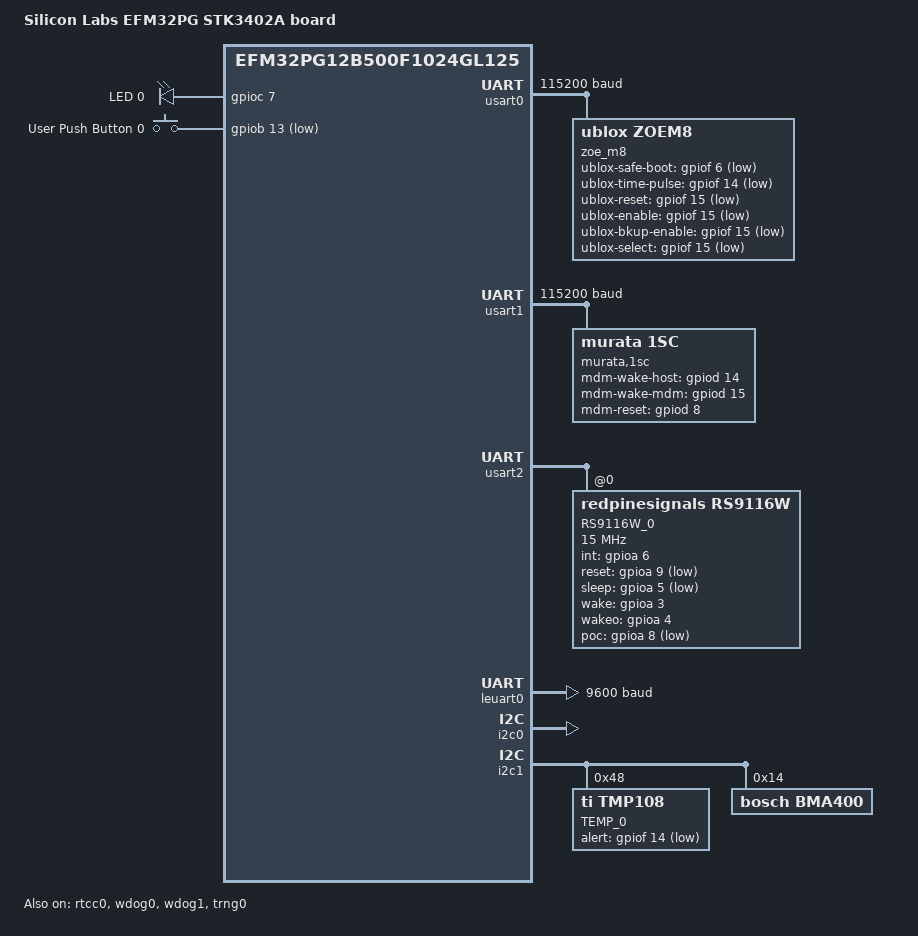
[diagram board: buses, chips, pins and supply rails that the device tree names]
/*
 * Copyright (c) 2017 Christian Taedcke
 * Copyright (c) 2019 Lemonbeat GmbH
 *
 * SPDX-License-Identifier: Apache-2.0
 */

/dts-v1/;
#include <silabs/efm32pg12b500f1024gl125.dtsi>

/ {
    model = "Silicon Labs EFM32PG STK3402A board";
    compatible = "tmo,pets_v2";
    
    chosen {
        zephyr,console = &leuart0;
        zephyr,shell-uart = &leuart0;
        zephyr,sram = &sram0;
        zephyr,flash = &flash0;
        watchdog0 = &wdog0;
        watchdog1 = &wdog1;
    };

    /* These aliases are provided for compatibility with samples */
    aliases {
        led0 = &led0;
        sw0 = &button0;
        modem = &usart1;
    };

    leds {
        compatible = "gpio-leds";

        led0: led_0 {
            gpios = <&gpioc 7 0>;
            label = "LED 0";
        };
    };

    buttons {
        compatible = "gpio-keys";
        button0: button_0 {
            gpios = <&gpiob 13 GPIO_ACTIVE_LOW>;
            label = "User Push Button 0";
        };
    };
};

&cpu0 {
    clock-frequency = <40000000>;
};

&usart0 {
    current-speed = <115200>;
    location-rx = <GECKO_LOCATION(0) GECKO_PORT_A GECKO_PIN(1)>;
    location-tx = <GECKO_LOCATION(0) GECKO_PORT_A GECKO_PIN(0)>;
    status = "okay";   
    label = "UART_0";
     
    zoe_m8: zoe_m8 {
        compatible = "ublox,zoem8";
        ublox-safe-boot = <&gpiof 6 GPIO_ACTIVE_LOW>;        
        ublox-time-pulse = <&gpiof 14 GPIO_ACTIVE_LOW>;
        ublox-reset = <&gpiof 15 GPIO_ACTIVE_LOW>;
        ublox-enable = <&gpiof 15 GPIO_ACTIVE_LOW>;
        ublox-bkup-enable = <&gpiof 15 GPIO_ACTIVE_LOW>;
        ublox-select = <&gpiof 15 GPIO_ACTIVE_LOW>;
        status = "okay";
    };
};

&usart1 {
    current-speed   = <115200>;
    location-rx     = <GECKO_LOCATION(20) GECKO_PORT_D GECKO_PIN(13)>;
    location-tx     = <GECKO_LOCATION(20) GECKO_PORT_D GECKO_PIN(12)>;
    location-cts    = <GECKO_LOCATION(15) GECKO_PORT_D GECKO_PIN(11)>;    
    location-rts    = <GECKO_LOCATION(13) GECKO_PORT_D GECKO_PIN(10)>;
    hw-flow-control; 
    status = "okay";
    
    label = "UART_1";
    
    murata_1sc: murata_1sc {
        compatible = "murata,1sc";
        label = "murata,1sc";
        mdm-wake-host-gpios = <&gpiod 14 GPIO_ACTIVE_HIGH>;        
        mdm-wake-mdm-gpios = <&gpiod 15 GPIO_ACTIVE_HIGH>;
        mdm-reset-gpios = <&gpiod 8 GPIO_ACTIVE_HIGH>;
        status = "okay";
    };
};

&usart2 {
    compatible = "silabs,gecko-spi-usart";         

    location-clk = <GECKO_LOCATION(3) GECKO_PORT_I GECKO_PIN(0)>;
    location-rx = <GECKO_LOCATION(6) GECKO_PORT_I GECKO_PIN(2)>;
    location-tx = <GECKO_LOCATION(8) GECKO_PORT_I GECKO_PIN(3)>;
    cs-gpios = <&gpioi 1 GPIO_ACTIVE_LOW>;
    status = "okay";
    #address-cells = <1>;
    #size-cells = <0>;
    label = "SPI_0";

    rs9116w@0 {
        compatible = "redpinesignals,rs9116w";
        reg = <0>;
        label = "RS9116W_0";
        spi-max-frequency = <15000000>;
        // spi-max-frequency = <66>;
        int-gpios = <&gpioa 6 GPIO_ACTIVE_HIGH>;   // input
        reset-gpios = <&gpioa 9 GPIO_ACTIVE_LOW>;  // output should be initialized LOW
        sleep-gpios = <&gpioa 5 GPIO_ACTIVE_LOW>;  // input
        wake-gpios = <&gpioa 3 GPIO_ACTIVE_HIGH>;  // input
        wakeo-gpios = <&gpioa 4 GPIO_ACTIVE_HIGH>; // output should be initialized HIGH
        poc-gpios = <&gpioa 8 GPIO_ACTIVE_LOW>;    // output should be initialized LOW
        status = "okay";
    };
};

&leuart0 {
    current-speed = <9600>;
    location-rx = <GECKO_LOCATION(6) GECKO_PORT_B GECKO_PIN(12)>;
    location-tx = <GECKO_LOCATION(6) GECKO_PORT_B GECKO_PIN(11)>;
    status = "okay";
};

&i2c0 {
    location-sda = <GECKO_LOCATION(15) GECKO_PORT_C GECKO_PIN(10)>;
    location-scl = <GECKO_LOCATION(15) GECKO_PORT_C GECKO_PIN(11)>;
    status = "okay";
};

&i2c1 {
    location-sda = <GECKO_LOCATION(12) GECKO_PORT_J GECKO_PIN(15)>;
    location-scl = <GECKO_LOCATION(10) GECKO_PORT_J GECKO_PIN(14)>;
    status = "okay";

    tmp108: tmp108@48 {
        compatible = "ti,tmp108";
        reg = <0x48 0x4>;
        alert-gpios = <&gpiof 14 GPIO_ACTIVE_LOW>;
        label = "TEMP_0";
        status = "okay";
    };
        
    bma400: bma400@14 {
        compatible = "bosch,bma400";
        reg = <0x14 0x4>;
        status = "okay";
    };
};

&rtcc0 {
    prescaler = <1>;
    status = "okay";
};

&gpio {
    location-swo = <0>;
    status = "okay";
};

&gpioa {
    status = "okay";
};

&gpiob {
    status = "okay";
};

&gpioc {
    status = "okay";
};

&gpiod {
    status = "okay";
};

&gpiof {
    status = "okay";
};

&gpioi {
    status = "okay";
};

&gpioj {
    status = "okay";
};

&wdog0 {
    status = "okay";
};

&wdog1 {
    status = "okay";
};


&flash0 {

    partitions {
        compatible = "fixed-partitions";
        #address-cells = <1>;
        #size-cells = <1>;

        /* Set 6Kb of storage at the end of the 1024Kb of flash */
        storage_partition: partition@fe800 {
            label = "storage";
            reg = <0x000fe800 0x00001800>;
        };

    };
};

&trng0 {
        status = "okay";
};
